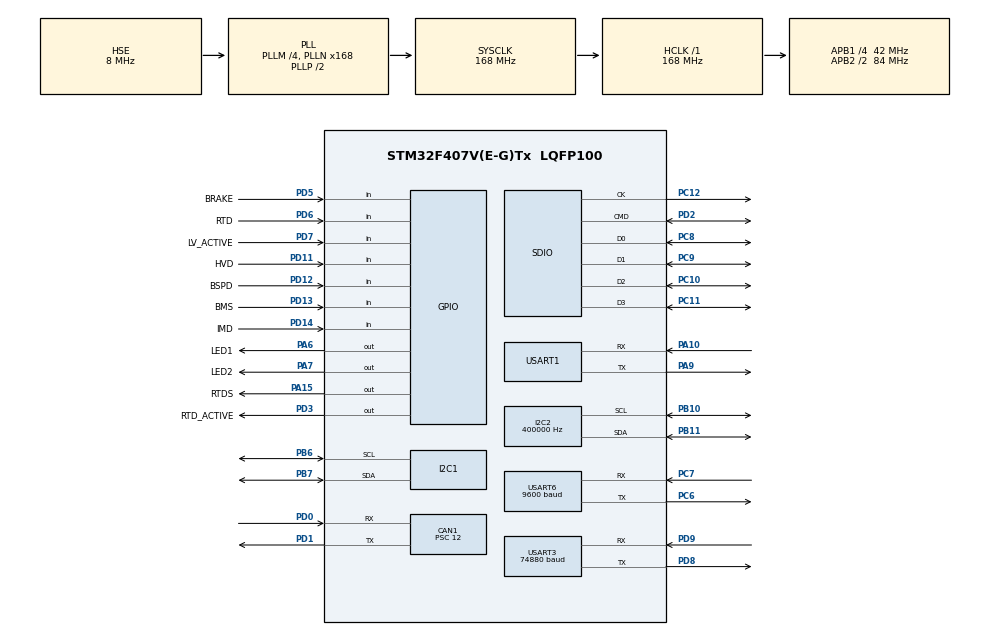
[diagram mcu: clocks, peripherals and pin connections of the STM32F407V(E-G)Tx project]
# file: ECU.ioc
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ADC1.Channel-0\#ChannelRegularConversion=ADC_CHANNEL_TEMPSENSOR
ADC1.ContinuousConvMode=DISABLE
ADC1.NbrOfConversionFlag=1
ADC1.Rank-0\#ChannelRegularConversion=1
ADC1.SamplingTime-0\#ChannelRegularConversion=ADC_SAMPLETIME_3CYCLES
ADC1.master=1
CAN1.ABOM=ENABLE
CAN1.BS1=CAN_BS1_11TQ
CAN1.BS2=CAN_BS2_2TQ
CAN1.CalculateBaudRate=250000
CAN1.CalculateTimeBit=4000
CAN1.CalculateTimeQuantum=285.7142857142857
CAN1.Mode=CAN_MODE_SILENT
CAN1.NART=ENABLE
CAN1.Prescaler=12
Dma.Request0=SDIO_RX
Dma.Request1=SDIO_TX
Dma.SDIO_RX.0.Direction=DMA_PERIPH_TO_MEMORY
Dma.SDIO_RX.0.FIFOMode=DMA_FIFOMODE_ENABLE
Dma.SDIO_RX.0.FIFOThreshold=DMA_FIFO_THRESHOLD_FULL
Dma.SDIO_RX.0.Instance=DMA2_Stream3
Dma.SDIO_RX.0.MemBurst=DMA_MBURST_INC4
Dma.SDIO_RX.0.MemDataAlignment=DMA_MDATAALIGN_WORD
Dma.SDIO_RX.0.MemInc=DMA_MINC_ENABLE
Dma.SDIO_RX.0.Mode=DMA_PFCTRL
Dma.SDIO_RX.0.PeriphBurst=DMA_PBURST_INC4
Dma.SDIO_RX.0.PeriphDataAlignment=DMA_PDATAALIGN_WORD
Dma.SDIO_RX.0.PeriphInc=DMA_PINC_DISABLE
Dma.SDIO_RX.0.Priority=DMA_PRIORITY_LOW
Dma.SDIO_TX.1.Direction=DMA_MEMORY_TO_PERIPH
Dma.SDIO_TX.1.FIFOMode=DMA_FIFOMODE_ENABLE
Dma.SDIO_TX.1.FIFOThreshold=DMA_FIFO_THRESHOLD_FULL
Dma.SDIO_TX.1.Instance=DMA2_Stream6
Dma.SDIO_TX.1.MemBurst=DMA_MBURST_INC4
Dma.SDIO_TX.1.MemDataAlignment=DMA_MDATAALIGN_WORD
Dma.SDIO_TX.1.MemInc=DMA_MINC_ENABLE
Dma.SDIO_TX.1.Mode=DMA_PFCTRL
Dma.SDIO_TX.1.PeriphBurst=DMA_PBURST_INC4
Dma.SDIO_TX.1.PeriphDataAlignment=DMA_PDATAALIGN_WORD
Dma.SDIO_TX.1.PeriphInc=DMA_PINC_DISABLE
Dma.SDIO_TX.1.Priority=DMA_PRIORITY_LOW
FATFS._CODE_PAGE=850
FATFS._MAX_SS=4096
FATFS._USE_LFN=1
I2C1.I2C_Mode=I2C_Fast
I2C2.ClockSpeed=400000
I2C2.I2C_Mode=I2C_Fast
Mcu.Family=STM32F4
Mcu.Name=STM32F407V(E-G)Tx
Mcu.Package=LQFP100
NVIC.ADC_IRQn=true\:0\:0\:false\:false\:true\:true\:true\:true
NVIC.CAN1_RX0_IRQn=true\:0\:0\:false\:false\:true\:true\:true\:true
NVIC.CAN1_TX_IRQn=true\:0\:0\:false\:false\:true\:true\:true\:true
NVIC.DMA2_Stream3_IRQn=true\:0\:0\:false\:false\:true\:false\:true\:true
NVIC.DMA2_Stream6_IRQn=true\:0\:0\:false\:false\:true\:false\:true\:true
NVIC.I2C1_EV_IRQn=true\:0\:0\:false\:false\:true\:true\:true\:true
NVIC.I2C2_EV_IRQn=true\:0\:0\:false\:false\:true\:true\:true\:true
NVIC.PriorityGroup=NVIC_PRIORITYGROUP_4
NVIC.SDIO_IRQn=true\:0\:0\:false\:false\:true\:true\:true\:true
NVIC.TIM2_IRQn=true\:0\:0\:false\:false\:true\:true\:true\:true
NVIC.TIM3_IRQn=true\:0\:0\:false\:false\:true\:true\:true\:true
NVIC.TIM4_IRQn=true\:0\:0\:false\:false\:true\:true\:true\:true
NVIC.TIM8_BRK_TIM12_IRQn=true\:0\:0\:false\:false\:true\:true\:true\:true
NVIC.USART3_IRQn=true\:0\:0\:false\:false\:true\:true\:true\:true
NVIC.USART6_IRQn=true\:0\:0\:false\:false\:true\:true\:true\:true
PA10.Mode=Asynchronous
PA10.Signal=USART1_RX
PA13.Mode=Serial_Wire
PA13.Signal=SYS_JTMS-SWDIO
PA14.Mode=Serial_Wire
PA14.Signal=SYS_JTCK-SWCLK
PA15.GPIO_Label=RTDS
PA15.GPIO_PuPd=GPIO_PULLDOWN
PA15.Signal=GPIO_Output
PA6.GPIO_Label=LED1
PA6.Signal=GPIO_Output
PA7.GPIO_Label=LED2
PA7.Signal=GPIO_Output
PA9.Mode=Asynchronous
PA9.Signal=USART1_TX
PB10.Mode=I2C
PB10.Signal=I2C2_SCL
PB11.Mode=I2C
PB11.Signal=I2C2_SDA
PB6.Mode=I2C
PB6.Signal=I2C1_SCL
PB7.Mode=I2C
PB7.Signal=I2C1_SDA
PC10.GPIO_PuPd=GPIO_PULLUP
PC10.Mode=SD_4_bits_Wide_bus
PC10.Signal=SDIO_D2
PC11.GPIO_PuPd=GPIO_PULLUP
PC11.Mode=SD_4_bits_Wide_bus
PC11.Signal=SDIO_D3
PC12.Mode=SD_4_bits_Wide_bus
PC12.Signal=SDIO_CK
PC14-OSC32_IN.Mode=LSE-External-Oscillator
PC14-OSC32_IN.Signal=RCC_OSC32_IN
PC15-OSC32_OUT.Mode=LSE-External-Oscillator
PC15-OSC32_OUT.Signal=RCC_OSC32_OUT
PC6.Mode=Asynchronous
PC6.Signal=USART6_TX
PC7.Mode=Asynchronous
PC7.Signal=USART6_RX
PC8.GPIO_PuPd=GPIO_PULLUP
PC8.Mode=SD_4_bits_Wide_bus
PC8.Signal=SDIO_D0
PC9.GPIO_PuPd=GPIO_PULLUP
PC9.Mode=SD_4_bits_Wide_bus
PC9.Signal=SDIO_D1
PD0.Mode=CAN_Activate
PD0.Signal=CAN1_RX
PD1.Mode=CAN_Activate
PD1.Signal=CAN1_TX
PD11.GPIO_Label=HVD
PD11.GPIO_PuPd=GPIO_PULLDOWN
PD11.Signal=GPIO_Input
PD12.GPIO_Label=BSPD
PD12.GPIO_PuPd=GPIO_PULLDOWN
PD12.Signal=GPIO_Input
PD13.GPIO_Label=BMS
PD13.GPIO_PuPd=GPIO_PULLDOWN
PD13.Signal=GPIO_Input
PD14.GPIO_Label=IMD
PD14.GPIO_PuPd=GPIO_PULLDOWN
PD14.Signal=GPIO_Input
PD2.GPIO_PuPd=GPIO_PULLUP
PD2.Mode=SD_4_bits_Wide_bus
PD2.Signal=SDIO_CMD
PD3.GPIO_Label=RTD_ACTIVE
PD3.Signal=GPIO_Output
PD5.GPIO_Label=BRAKE
PD5.GPIO_PuPd=GPIO_PULLDOWN
PD5.Signal=GPIO_Input
PD6.GPIO_Label=RTD
PD6.GPIO_PuPd=GPIO_PULLDOWN
PD6.Signal=GPIO_Input
PD7.GPIO_Label=LV_ACTIVE
PD7.GPIO_PuPd=GPIO_PULLDOWN
PD7.Signal=GPIO_Input
PD8.Mode=Asynchronous
PD8.Signal=USART3_TX
PD9.Mode=Asynchronous
PD9.Signal=USART3_RX
PH0-OSC_IN.Mode=HSE-External-Oscillator
PH0-OSC_IN.Signal=RCC_OSC_IN
PH1-OSC_OUT.Mode=HSE-External-Oscillator
PH1-OSC_OUT.Signal=RCC_OSC_OUT
ProjectManager.HeapSize=0x200
ProjectManager.StackSize=0x400
ProjectManager.TargetToolchain=STM32CubeIDE
RCC.48MHZClocksFreq_Value=48000000
RCC.AHBFreq_Value=168000000
RCC.APB1CLKDivider=RCC_HCLK_DIV4
RCC.APB1Freq_Value=42000000
RCC.APB1TimFreq_Value=84000000
RCC.APB2CLKDivider=RCC_HCLK_DIV2
RCC.APB2Freq_Value=84000000
RCC.APB2TimFreq_Value=168000000
RCC.CortexFreq_Value=168000000
RCC.EnbaleCSS=true
RCC.HCLKFreq_Value=168000000
RCC.HSE_VALUE=8000000
RCC.HSI_VALUE=16000000
RCC.PLLM=4
RCC.PLLN=168
RCC.PLLQ=7
RCC.PLLSourceVirtual=RCC_PLLSOURCE_HSE
RCC.RCC_RTC_Clock_Source=RCC_RTCCLKSOURCE_LSE
RCC.RCC_RTC_Clock_SourceVirtual=RCC_RTCCLKSOURCE_LSE
RCC.SYSCLKFreq_VALUE=168000000
RCC.SYSCLKSource=RCC_SYSCLKSOURCE_PLLCLK
RCC.VCOOutputFreq_Value=336000000
RTC.Date=15
RTC.Hours=1
RTC.Minutes=2
RTC.Month=RTC_MONTH_JULY
RTC.Seconds=3
RTC.WeekDay=RTC_WEEKDAY_FRIDAY
RTC.Year=22
SDIO.ClockDiv=12
SDIO.HardwareFlowControl=SDIO_HARDWARE_FLOW_CONTROL_ENABLE
TIM12.Period=2000 - 1
TIM12.Prescaler=8400 - 1
TIM2.Period=2000 - 1
TIM2.Prescaler=8400 - 1
TIM3.Period=1000 - 1
TIM3.Prescaler=8400 - 1
TIM4.Period=50000 - 1
TIM4.Prescaler=8400 - 1
USART1.VirtualMode=VM_ASYNC
USART3.BaudRate=74880
USART3.VirtualMode=VM_ASYNC
USART6.BaudRate=9600
USART6.VirtualMode=VM_ASYNC
VP_ADC1_TempSens_Input.Mode=IN-TempSens
VP_FATFS_VS_SDIO.Mode=SDIO
VP_RTC_VS_RTC_Activate.Mode=RTC_Enabled
VP_RTC_VS_RTC_Calendar.Mode=RTC_Calendar
VP_TIM12_VS_ClockSourceINT.Mode=Internal
VP_TIM2_VS_ClockSourceINT.Mode=Internal
VP_TIM3_VS_ClockSourceINT.Mode=Internal
VP_TIM4_VS_ClockSourceINT.Mode=Internal
board=custom

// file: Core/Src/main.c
/* USER CODE BEGIN Header */
/**
  ******************************************************************************
  * @file           : main.c
  * @brief          : Main program body
  ******************************************************************************
  * @attention
  *
  * Copyright (c) 2022 STMicroelectronics.
  * All rights reserved.
  *
  * This software is licensed under terms that can be found in the LICENSE file
  * in the root directory of this software component.
  * If no LICENSE file comes with this software, it is provided AS-IS.
  *
  ******************************************************************************
  */
/* USER CODE END Header */
#include "main.h"
#include "adc.h"
#include "can.h"
#include "dma.h"
#include "fatfs.h"
#include "i2c.h"
#include "rtc.h"
#include "sdio.h"
#include "tim.h"
#include "usart.h"
#include "gpio.h"

/* USER CODE BEGIN Includes */
#include <stdio.h>
#include <stdlib.h>
#include <stdbool.h>
#include <string.h>
#include <inttypes.h>
#include <time.h>

#include "ringbuffer.h"
/* USER CODE END Includes */

/* USER CODE BEGIN PTD */
typedef struct {
	uint8_t* component;
	uint8_t* level;
	uint8_t* key;
	uint8_t* value;
} log_t;

typedef struct {
	uint8_t* name;
	uint32_t value;
	GPIO_TypeDef* port;
	uint16_t pin;
} GPIO_t;

typedef enum {
	LV_ACTIVE = 0,
	RTD = 1,
	BRAKE = 2,
	IMD = 3,
	BMS = 4,
	BSPD = 5,
	HVD = 6
} GPIO_INPUT_t;

typedef enum {
	GPS_TIME = 0,
	GPS_VALID,
	LAT,
	LAT_DIR,
	LON,
	LON_DIR,
	GROUND_SPEED,
	TRACK_ANGLE,
	GPS_DATE,
	COMPASS,
	COMPASS_DIR
} GPRMC_t;

typedef enum {
	CAN_BMS_CORE = 0,
	CAN_BMS_TEMP,
	CAN_INV_TEMP_1,
	CAN_INV_TEMP_3,
	CAN_INV_ANALOG_IN,
	CAN_INV_MOTOR_POS,
	CAN_INV_CURRENT,
	CAN_INV_VOLTAGE,
	CAN_INV_FLUX,
	CAN_INV_REF,
	CAN_INV_STATE,
	CAN_INV_FAULT,
	CAN_INV_TORQUE,
	CAN_INV_FLUX_WEAKING
} CAN_MSG_t;

typedef enum {
	CAN_BMS_CORE_ID = 0x6B0,
	CAN_BMS_TEMP_ID = 0x6B1,
	CAN_INV_TEMP_1_ID = 0xA0,
	CAN_INV_TEMP_3_ID = 0xA2,
	CAN_INV_ANALOG_IN_ID = 0xA3,
	CAN_INV_MOTOR_POS_ID = 0xA5,
	CAN_INV_CURRENT_ID = 0xA6,
	CAN_INV_VOLTAGE_ID = 0xA7,
	CAN_INV_FLUX_ID = 0xA8,
	CAN_INV_REF_ID = 0xA9,
	CAN_INV_STATE_ID = 0xAA,
	CAN_INV_FAULT_ID = 0xAB,
	CAN_INV_TORQUE_ID = 0xAC,
	CAN_INV_FLUX_WEAKING_ID = 0xAD
} CAN_MSG_ID_t;
/* USER CODE END PTD */

/* USER CODE BEGIN PD */
#define DEBUG_MODE 1
#define GPS_DEBUG 0

#define INPUT_GPIO_COUNT 7
#define CAN_MSG_COUNT 14

// ADC temperature sensor calibration values
#define TS_CAL1 *((uint16_t*)0x1FFF7A2C)
#define TS_CAL2 *((uint16_t*)0x1FFF7A2E)

// I2C
#define LCD_I2C_ADDRESS 0x27 << 1
#define ACC_I2C_ADDRESS 0x53 << 1

/* USER CODE END PD */

/* USER CODE BEGIN PV */

// error handler log
log_t errlog;

// SD file system;
FATFS SDFatFs;

// boot RTC time
uint64_t boot;
uint8_t logfile[30];
uint32_t isRTCFixed = false;

uint32_t isGPSFixed = false;

// 64KB log buffer
ring_buffer_t logbuffer;

// GPS UART6 receive buffer
uint8_t gps_rxd;
uint8_t gps_rxs[120];
uint32_t gps_valid = false;

// WiFi UART3 receive buffer
uint8_t wifi_rxd;
uint8_t wifi_rxs[50];
uint32_t wifi_valid = false;

// GPIO status
GPIO_t GPIO[8] = {
		{ .name = "HV",    .value = false, .port = GPIOD, .pin = LV_ACTIVE_Pin },
		{ .name = "RTD",   .value = false, .port = GPIOD, .pin = RTD_Pin },
		{ .name = "BRAKE", .value = false, .port = GPIOD, .pin = BRAKE_Pin },
		{ .name = "IMD",   .value = false, .port = GPIOD, .pin = IMD_Pin },
		{ .name = "BMS",   .value = false, .port = GPIOD, .pin = BMS_Pin },
		{ .name = "BSPD",  .value = false, .port = GPIOD, .pin = BSPD_Pin },
		{ .name = "HVD",   .value = false, .port = GPIOD, .pin = HVD_Pin }
};

// ADC temperature value
uint32_t adc_valid = false;
uint32_t core_temperature;

// GPIO check
uint32_t gpio_valid = false;

// LCD update flag
uint32_t lcd_valid = false;

// CAN receiver config
CAN_RxHeaderTypeDef can_rxh;
uint8_t can_rxb[8];
uint8_t can_rxd[CAN_MSG_COUNT][8];
uint32_t can_valid[CAN_MSG_COUNT] = { false, };
uint32_t can_active = false;
uint8_t *can_msg_id[CAN_MSG_COUNT] = { "CAN_BMS_CORE", "CAN_BMS_TEMP", "CAN_INV_TEMP_1", "CAN_INV_TEMP_3",
						   	   	   	   "CAN_INV_ANALOG_IN", "CAN_INV_MOTOR_POS", "CAN_INV_CURRENT", "CAN_INV_VOLTAGE",
									   "CAN_INV_FLUX", "CAN_INV_REF", "CAN_INV_STATE", "CAN_INV_FAULT",
									   "CAN_INV_TORQUE", "CAN_INV_FLUX_WEAKING" };

// SD mount flag
uint32_t sd_valid = false;

// Accelerometer data
uint8_t acc_rxd[6];
uint8_t acc_valid = false;

/* USER CODE END PV */

void SystemClock_Config(void);

/* USER CODE BEGIN 0 */
int _write(int file, uint8_t *ptr, int len) {
   HAL_UART_Transmit(&huart1, (uint8_t *)ptr, (uint16_t)len, 100);
   return (len);
}

uint64_t getDateTimeBits() {
	uint64_t result = 0;

	RTC_DateTypeDef sDate;
	RTC_TimeTypeDef sTime;

	HAL_RTC_GetTime(&hrtc, &sTime, FORMAT_BIN);
	HAL_RTC_GetDate(&hrtc, &sDate, FORMAT_BIN);

	result |= (uint64_t)(sTime.SubSeconds);
	result |= (uint64_t)(sTime.Seconds) << 8;
	result |= (uint64_t)(sTime.Minutes) << 16;
	result |= (uint64_t)(sTime.Hours) << 24;
	result |= (uint64_t)(sDate.Date) << 32;
	result |= (uint64_t)(sDate.Month) << 40;
	result |= (uint64_t)(sDate.Year) << 48;

	return result;
}

void SD_Setup() {
	// INIT & MOUNT
	disk_initialize((BYTE) 0);
	uint32_t err = f_mount(&SDFatFs, "", 0);

	#if DEBUG_MODE
		printf("mount err: %d\n", err);
	#endif
	if(err != FR_OK) {
		errlog.component = "ECU";
		errlog.level = "ERRR";
		errlog.key = "SD";
		errlog.value = malloc(17);
		sprintf(errlog.value, "SD_MOUNT_ERR: %d", err);

		Error_Handler();
		free(errlog.value);
	}

	sd_valid = true;

	log_t log;
	log.component = "ECU";
	log.level = "INFO";
	log.key = "SD";
	log.value = "SD_MOUNTED";
	LOGGER(&log);
}

uint8_t* log_string_generator(log_t* log, uint8_t* str, uint32_t* logsize) {
	uint64_t timestamp = getDateTimeBits();

	// set log content
	sprintf(str, "![%s]\t[20%d-%02d-%02d %02d:%02d:%02d.%03d]\t%s\t\t%s\t\t\t%s\n",
			log->level,
			(uint32_t)(timestamp >> 48), (uint32_t)(timestamp << 16 >> 56), (uint32_t)(timestamp << 24 >> 56),
			(uint32_t)(timestamp << 32 >> 56), (uint32_t)(timestamp << 40 >> 56), (uint32_t)(timestamp << 48 >> 56), (int)(999.0 / 255.0 * (float)(255 - (timestamp << 56 >> 56))),
			log->component, log->key, log->value);

	*logsize = strlen(str);
	return str;
}

void LOGGER(log_t* log) {
	uint8_t* content = malloc(100);
	uint32_t logsize;

	log_string_generator(log, content, &logsize);

	// append log to buffer
	ring_buffer_queue_arr(&logbuffer, content, logsize + 1);

	#if DEBUG_MODE
		printf("LOG: %s", content);
	#endif

	// mount SD
	if (!sd_valid) {
		SD_Setup();
	}

	// SAVE TO SD
	FIL file;
	uint32_t writtenBytesCount;

	// OPEN FILE
	uint32_t err = f_open(&file, logfile, FA_OPEN_APPEND | FA_WRITE);
	#if DEBUG_MODE
		printf("sd open: %d, %s\n", err, logfile);
	#endif
	if (err != FR_OK) {
		errlog.component = "ECU";
		errlog.level = "ERRR";
		errlog.key = "SD";
		errlog.value = malloc(16);
		sprintf(errlog.value, "SD_OPEN_ERR: %d", err);

		Error_Handler();
		free(errlog.value);
	}

	// WRITE TO FILE
	err = f_write(&file, content, logsize, (void *)&writtenBytesCount);
	#if DEBUG_MODE
		printf("sd write: %d, %s, %d\n", err, logfile, writtenBytesCount);
	#endif
	if (err != FR_OK) {
		errlog.component = "ECU";
		errlog.level = "ERRR";
		errlog.key = "SD";
		errlog.value = malloc(17);
		sprintf(errlog.value, "SD_WRITE_ERR: %d", err);

		Error_Handler();
		free(errlog.value);
	}

	// CLOSE FILE
	err = f_close(&file);
	#if DEBUG_MODE
		printf("sd close: %d\n\n", err);
	#endif
	if(err != FR_OK) {
		errlog.component = "ECU";
		errlog.level = "ERRR";
		errlog.key = "SD";
		errlog.value = malloc(17);
		sprintf(errlog.value, "SD_CLOSE_ERR: %d", err);

		Error_Handler();
		free(errlog.value);
	}

	free(content);
}

/* ========== GPIO START ========== */
void Sensor_Setup() {
	// internal temperature sensor time
	HAL_TIM_Base_Start_IT(&htim4);

	// initialize APPS pin
	HAL_GPIO_WritePin(GPIOD, RTD_ACTIVE_Pin, GPIO_PIN_RESET);

	// initialize RTDS pin
	HAL_GPIO_WritePin(GPIOA, RTDS_Pin, GPIO_PIN_SET);

	// read initial GPIO states
	for (uint32_t i = 0; i < INPUT_GPIO_COUNT; i++) {
		GPIO[i].value = HAL_GPIO_ReadPin(GPIO[i].port, GPIO[i].pin);

		log_t log;
		log.component = "ECU";
		log.level = "INFO";
		log.key = "GPIO";
		log.value = malloc(strlen(GPIO[i].name) + 3);
		sprintf(log.value, "%s %d", GPIO[i].name, (GPIO[i].value));
		LOGGER(&log);
		free(log.value);
	}
}

void Sensor_Manager() {
	// detect GPIO state change
	for (uint32_t i = 0; i < INPUT_GPIO_COUNT; i++) {
		if (GPIO[i].value != HAL_GPIO_ReadPin(GPIO[i].port, GPIO[i].pin)) {
			log_t log;
			log.component = "ECU";
			log.level = "INFO";
			log.key = "GPIO";
			log.value = malloc(strlen(GPIO[i].name) + 3);
			sprintf(log.value, "%s %d", GPIO[i].name, !(GPIO[i].value));
			LOGGER(&log);
			free(log.value);

			GPIO[i].value = !(GPIO[i].value);
		}
	}

	// log GPIO state
	if (gpio_valid) {
		static uint32_t checkedGPIOcount = 0;
		static uint32_t gpioCheckStartTime = 0;
		if (!gpioCheckStartTime) gpioCheckStartTime = HAL_GetTick();

		if (HAL_GetTick() > gpioCheckStartTime + 100 * checkedGPIOcount) {
			GPIO[checkedGPIOcount].value = HAL_GPIO_ReadPin(GPIO[checkedGPIOcount].port, GPIO[checkedGPIOcount].pin);

			log_t log;
			log.component = "ECU";
			log.level = "INFO";
			log.key = "GPIO";
			log.value = malloc(strlen(GPIO[checkedGPIOcount].name) + 3);
			sprintf(log.value, "%s %d", GPIO[checkedGPIOcount].name, (GPIO[checkedGPIOcount].value));
			LOGGER(&log);
			free(log.value);

			checkedGPIOcount++;

			if (checkedGPIOcount == INPUT_GPIO_COUNT) {
				gpio_valid = false;
				checkedGPIOcount = 0;
				gpioCheckStartTime = 0;
			}
		}
	}

	// log internal temperature
	if (adc_valid) {
		log_t log;
		log.component = "ECU";
		log.level = "INFO";
		log.key = "TEMPERATURE";
		log.value = malloc(5);
		sprintf(log.value, "%d", core_temperature);
		LOGGER(&log);
		free(log.value);

		adc_valid = false;
	}
}
/* ========== GPIO END ========== */

void RTD_Manager() {
	static uint32_t RTD_FLAG = false;
	static uint32_t RTD_COUNTER_ACTIVE = false;

	static uint32_t RTD_TIMER;

	// read RTD related GPIO state
	uint32_t LV_ACTIVE    = HAL_GPIO_ReadPin(GPIOD, LV_ACTIVE_Pin);
	uint32_t RTD       	  = HAL_GPIO_ReadPin(GPIOD, RTD_Pin);
	uint32_t BRAKE        = HAL_GPIO_ReadPin(GPIOD, BRAKE_Pin);

	// on RTD condition
	if (!RTD_FLAG && LV_ACTIVE && RTD && BRAKE) {
	  // START RTD ACTIVATION TIMER
	  if (!RTD_COUNTER_ACTIVE) {
		 RTD_COUNTER_ACTIVE = true;
		 RTD_TIMER = HAL_GetTick();
	  }

	  // RTD ACTIVATION SEQUENCE
	  else if (HAL_GetTick() - RTD_TIMER > 1000) {
		 // Mark RTD active
		 RTD_FLAG = true;

		 // Play RTDS
		 HAL_GPIO_WritePin(GPIOA, RTDS_Pin, GPIO_PIN_RESET);
		 HAL_TIM_Base_Start_IT(&htim2);

		 // Activate APPS relay and RTD indicator LED
		 HAL_GPIO_WritePin(GPIOD, RTD_ACTIVE_Pin, GPIO_PIN_SET);

		 log_t log;
		 log.component = "ECU";
		 log.level = "INFO";
		 log.key = "RTD";
		 log.value = malloc(10);
		 sprintf(log.value, "%d", HAL_GetTick());
		 LOGGER(&log);
		 free(log.value);
	  }
	}
	// RTD abort
	else {
	  RTD_COUNTER_ACTIVE = false;
	}
}

/* ========== CAN RECEIVER START ========== */
void CAN_Setup() {
   CAN_FilterTypeDef CAN_Filter_Config;

   CAN_Filter_Config.FilterBank = 0;
   CAN_Filter_Config.FilterMode = CAN_FILTERMODE_IDMASK;
   CAN_Filter_Config.FilterScale = CAN_FILTERSCALE_32BIT;
   CAN_Filter_Config.FilterIdHigh = 0x0000;
   CAN_Filter_Config.FilterIdLow = 0x0000;
   CAN_Filter_Config.FilterMaskIdHigh = 0x0000;
   CAN_Filter_Config.FilterMaskIdLow = 0x0000;
   CAN_Filter_Config.FilterFIFOAssignment = CAN_RX_FIFO0;
   CAN_Filter_Config.FilterActivation = ENABLE;
   CAN_Filter_Config.SlaveStartFilterBank = 14;

   // CAN configuration
   if (HAL_CAN_ConfigFilter(&hcan1, &CAN_Filter_Config) != HAL_OK) {
		errlog.component = "ECU";
		errlog.level = "ERRR";
		errlog.key = "CAN";
		errlog.value = malloc(25);
		sprintf(errlog.value, "HAL_CAN_ConfigFilter_ERR");

		Error_Handler();
		free(errlog.value);
   }

   // CAN start
   if (HAL_CAN_Start(&hcan1) != HAL_OK) {
		errlog.component = "ECU";
		errlog.level = "ERRR";
		errlog.key = "CAN";
		errlog.value = malloc(18);
		sprintf(errlog.value, "HAL_CAN_Start_ERR");

		Error_Handler();
		free(errlog.value);
   }

   // CAN RX notification activation
   if (HAL_CAN_ActivateNotification(&hcan1, CAN_IT_RX_FIFO0_MSG_PENDING) != HAL_OK) {
		errlog.component = "ECU";
		errlog.level = "ERRR";
		errlog.key = "CAN";
		errlog.value = malloc(61);
		sprintf(errlog.value, "HAL_CAN_ActivateNotification_CAN_IT_RX_FIFO0_MSG_PENDING_ERR");

		Error_Handler();
		free(errlog.value);
   }
   can_active = true;

   // CAN RX FULL notification activation
   if (HAL_CAN_ActivateNotification(&hcan1, CAN_IT_RX_FIFO0_FULL) != HAL_OK) {
		errlog.component = "ECU";
		errlog.level = "ERRR";
		errlog.key = "CAN";
		errlog.value = malloc(54);
		sprintf(errlog.value, "HAL_CAN_ActivateNotification_CAN_IT_RX_FIFO0_FULL_ERR");

		Error_Handler();
		free(errlog.value);
   }
}

void HAL_CAN_RxFifo0MsgPendingCallback(CAN_HandleTypeDef *CAN_Handle) {
	if (HAL_CAN_GetRxMessage(CAN_Handle, CAN_RX_FIFO0, &can_rxh, can_rxb) != HAL_OK) {
		errlog.component = "ECU";
		errlog.level = "ERRR";
		errlog.key = "CAN";
		errlog.value = malloc(25);
		sprintf(errlog.value, "HAL_CAN_GetRxMessage_ERR");

		Error_Handler();
		free(errlog.value);
	}

#if DEBUG_MODE
	printf("CAN: %x 0x%02X 0x%02X 0x%02X 0x%02X 0x%02X 0x%02X 0x%02X 0x%02X\n", can_rxh.StdId, can_rxb[0], can_rxb[1], can_rxb[2], can_rxb[3], can_rxb[4], can_rxb[5], can_rxb[6], can_rxb[7]);
#endif

	switch (can_rxh.StdId) {
		case CAN_BMS_CORE_ID:
			memcpy(can_rxd[CAN_BMS_CORE], can_rxb, 8);
			can_valid[CAN_BMS_CORE] = true;
			break;

		case CAN_BMS_TEMP_ID:
			memcpy(can_rxd[CAN_BMS_TEMP], can_rxb, 8);
			can_valid[CAN_BMS_TEMP] = true;
			break;

		case CAN_INV_TEMP_1_ID:
			memcpy(can_rxd[CAN_INV_TEMP_1], can_rxb, 8);
			can_valid[CAN_INV_TEMP_1] = true;
			break;

		case CAN_INV_TEMP_3_ID:
			memcpy(can_rxd[CAN_INV_TEMP_3], can_rxb, 8);
			can_valid[CAN_INV_TEMP_3] = true;
			break;

		case CAN_INV_ANALOG_IN_ID:
			memcpy(can_rxd[CAN_INV_ANALOG_IN], can_rxb, 8);
			can_valid[CAN_INV_ANALOG_IN] = true;
			break;

		case CAN_INV_MOTOR_POS_ID:
			memcpy(can_rxd[CAN_INV_MOTOR_POS], can_rxb, 8);
			can_valid[CAN_INV_MOTOR_POS] = true;
			break;

		case CAN_INV_CURRENT_ID:
			memcpy(can_rxd[CAN_INV_CURRENT], can_rxb, 8);
			can_valid[CAN_INV_CURRENT] = true;
			break;

		case CAN_INV_VOLTAGE_ID:
			memcpy(can_rxd[CAN_INV_VOLTAGE], can_rxb, 8);
			can_valid[CAN_INV_VOLTAGE] = true;
			break;

		case CAN_INV_FLUX_ID:
			memcpy(can_rxd[CAN_INV_FLUX], can_rxb, 8);
			can_valid[CAN_INV_FLUX] = true;
			break;

		case CAN_INV_REF_ID:
			memcpy(can_rxd[CAN_INV_REF], can_rxb, 8);
			can_valid[CAN_INV_REF] = true;
			break;

		case CAN_INV_STATE_ID:
			memcpy(can_rxd[CAN_INV_STATE], can_rxb, 8);
			can_valid[CAN_INV_STATE] = true;
			break;

		case CAN_INV_FAULT_ID:
			memcpy(can_rxd[CAN_INV_FAULT], can_rxb, 8);
			can_valid[CAN_INV_FAULT] = true;
			break;

		case CAN_INV_TORQUE_ID:
			memcpy(can_rxd[CAN_INV_TORQUE], can_rxb, 8);
			can_valid[CAN_INV_TORQUE] = true;
			break;

		case CAN_INV_FLUX_WEAKING_ID:
			memcpy(can_rxd[CAN_INV_FLUX_WEAKING], can_rxb, 8);
			can_valid[CAN_INV_FLUX_WEAKING] = true;
			break;
	}
}

void HAL_CAN_RxFifo0FullCallback(CAN_HandleTypeDef *CAN_Handle) {
	// deactivate CAN RX on FIFO FULL
	if (HAL_CAN_DeactivateNotification(&hcan1, CAN_IT_RX_FIFO0_MSG_PENDING) != HAL_OK) {
		errlog.component = "ECU";
		errlog.level = "ERRR";
		errlog.key = "CAN";
		errlog.value = malloc(63);
		sprintf(errlog.value, "HAL_CAN_DeactivateNotification_CAN_IT_RX_FIFO0_MSG_PENDING_ERR");

		Error_Handler();
		free(errlog.value);
	}
	can_active = false;
}

void CAN_Manager() {
	for (uint32_t i = 0; i < CAN_MSG_COUNT; i++) {
		if (can_valid[i]) {
			log_t log;
	        log.component = i < 2 ? "BMS" : "INV";
	        log.level = (i == 0 && (can_rxd[i][5] | can_rxd[i][6])) ? "ERRR" : "INFO";
	        log.key = can_msg_id[i];
			log.value = malloc(40);
			sprintf(log.value, "0x%02X 0x%02X 0x%02X 0x%02X 0x%02X 0x%02X 0x%02X 0x%02X", can_rxd[i][0], can_rxd[i][1], can_rxd[i][2], can_rxd[i][3], can_rxd[i][4], can_rxd[i][5], can_rxd[i][6], can_rxd[i][7]);
			LOGGER(&log);
			free(log.value);

			can_valid[i] = false;
		}
	}

	if (!can_active) {
		// CAN RX notification activation
		if (HAL_CAN_ActivateNotification(&hcan1, CAN_IT_RX_FIFO0_MSG_PENDING) != HAL_OK) {
			errlog.component = "ECU";
			errlog.level = "ERRR";
			errlog.key = "CAN";
			errlog.value = malloc(61);
			sprintf(errlog.value, "HAL_CAN_ActivateNotification_CAN_IT_RX_FIFO0_MSG_PENDING_ERR");

			Error_Handler();
			free(errlog.value);
		}
	}
}

void HAL_CAN_ErrorCallback(CAN_HandleTypeDef *hcan) {
	errlog.component = "ECU";
	errlog.level = "ERRR";
	errlog.key = "CAN";
	errlog.value = malloc(26);
	sprintf(errlog.value, "HAL_CAN_ErrorCallback_ERR");

	Error_Handler();
	free(errlog.value);
}
/* ========== CAN RECEIVER END ========== */

void HAL_UART_RxCpltCallback(UART_HandleTypeDef *huart) {
	// for GPS
	if(huart->Instance == USART6) {
		// process only if data is not ready
		if(gps_valid) return;
		else {
			// received character position
			static uint32_t len = 0;

			// if received data is line ending
			if(gps_rxd == '\n') {
				gps_rxs[len] = '\0';
				len = 0;

				// process only if received line is GPRMC
				if(strstr(gps_rxs, "$GPRMC")) {
					// set GPS data ready
					gps_valid = true;
					return;
				}
			}

			// append received byte to receive buffer
			else gps_rxs[len++] = gps_rxd;

			// re-enable UART interrupt
			HAL_UART_Receive_IT(&huart6, &gps_rxd, 1);
		}
	}

	// for WiFi
	else if(huart->Instance == USART3) {
		// process only if data is ready to processed
		if(wifi_valid) return;
		else {
			static uint32_t len = 0;

			if(wifi_rxd == '\n') {
				wifi_rxs[len] = '\0';
				len = 0;

				// set flag only if received line contains $ESP
				if(strstr(wifi_rxs, "$ESP")) {
					wifi_valid = true;
					return;
				}
			}

			else {
				// cut received buffer if len > 50
				if (len == 50) len = 0;
				wifi_rxs[len++] = wifi_rxd;
			}

			// re-enable UART interrupt
			HAL_UART_Receive_IT(&huart3, &wifi_rxd, 1);
		}
	}
}

/* ========== GPS RECEIVER START ========== */
void GPS_Setup() {
	/*
	const uint8_t NMEA_cmd[5][16] = {
		{ 0xB5, 0x62, 0x06, 0x01, 0x08, 0x00, 0xF0, 0x00, 0x00, 0x00, 0x00, 0x00, 0x00, 0x01, 0x00, 0x24 }, // disable GxGGA
		{ 0xB5, 0x62, 0x06, 0x01, 0x08, 0x00, 0xF0, 0x01, 0x00, 0x00, 0x00, 0x00, 0x00, 0x01, 0x01, 0x2B }, // disable GxGLL
		{ 0xB5, 0x62, 0x06, 0x01, 0x08, 0x00, 0xF0, 0x02, 0x00, 0x00, 0x00, 0x00, 0x00, 0x01, 0x02, 0x32 }, // disable GxGSA
		{ 0xB5, 0x62, 0x06, 0x01, 0x08, 0x00, 0xF0, 0x03, 0x00, 0x00, 0x00, 0x00, 0x00, 0x01, 0x03, 0x39 }, // disable GxGSV
		{ 0xB5, 0x62, 0x06, 0x01, 0x08, 0x00, 0xF0, 0x05, 0x00, 0x00, 0x00, 0x00, 0x00, 0x01, 0x05, 0x47 }  // disable GxVTG
	};

	HAL_UART_Transmit(&huart6, NMEA_cmd[0], 16, 50);
	HAL_UART_Transmit(&huart6, NMEA_cmd[1], 16, 50);
	HAL_UART_Transmit(&huart6, NMEA_cmd[2], 16, 50);
	HAL_UART_Transmit(&huart6, NMEA_cmd[3], 16, 50);
	HAL_UART_Transmit(&huart6, NMEA_cmd[4], 16, 50);
	*/

	const uint8_t UBX_rate_cmd[14] = { 0xB5, 0x62, 0x06, 0x08, 0x06, 0x00, 0xC8, 0x00, 0x01, 0x00, 0x01, 0x00, 0xDE, 0x6A }; // set update rate 5Hz
	const uint8_t UBX_power_cmd[16] = { 0xB5, 0x62, 0x06, 0x86, 0x08, 0x00, 0x00, 0x00, 0x00, 0x00, 0x00, 0x00, 0x00, 0x00, 0x94, 0x5A }; // set full power

	HAL_UART_Transmit(&huart6, UBX_rate_cmd, 14, 50);
	HAL_UART_Transmit(&huart6, UBX_power_cmd, 16, 50);

	// enable UART receive
	HAL_UART_Receive_IT(&huart6, &gps_rxd, 1);
}

void GPS_Manager() {
	// process only if received buffer data is ready
	if(gps_valid) {
#if GPS_DEBUG
		printf("GPS: %s\n", gps_rxs);
#endif

	    // process received GPRMC string
		uint8_t *gps[11];
		uint8_t *ptr = strchr(gps_rxs, ',');

		uint32_t count = 0;

		// store GPS data fields
		while (strchr(ptr + 1, ',')) {
			// calculate data field length
			uint32_t len = (uint8_t *)strchr(ptr + 1, ',') - ptr - 1;

			// NULL if there is no data
			if (!len) {
				gps[count] = NULL;
			}

			// allocate and store if data is present
			else {
				gps[count] = malloc(len + 1);
				strncpy(gps[count], ptr + 1, len);
				gps[count][len] = '\0';
			}

			// move to next data
			count++;
			ptr = strchr(ptr + 1, ',');
		}

		// fix RTC datetime from GPS
		/*
		if(!isRTCFixed && gps[GPS_TIME] && gps[GPS_DATE]) {
			RTC_DateTypeDef sDate;
			RTC_TimeTypeDef sTime;

			uint8_t timebuffer[3];

			strncpy(timebuffer, gps[GPS_TIME], 2);
			sTime.Hours = (uint8_t)strtol(timebuffer, NULL, 10) + 9;
			strncpy(timebuffer, gps[GPS_TIME] + 2, 2);
			sTime.Minutes = (uint8_t)strtol(timebuffer, NULL, 10);
			strncpy(timebuffer, gps[GPS_TIME] + 4, 2);
			sTime.Seconds = (uint8_t)strtol(timebuffer, NULL, 10);

			strncpy(timebuffer, gps[GPS_DATE], 2);
			sDate.Date = (uint8_t)strtol(timebuffer, NULL, 10);
			strncpy(timebuffer, gps[GPS_DATE] + 2, 2);
			sDate.Month = (uint8_t)strtol(timebuffer, NULL, 16);
			strncpy(timebuffer, gps[GPS_DATE] + 4, 2);
			sDate.Year = (uint8_t)strtol(timebuffer, NULL, 10);

			sDate.WeekDay = 0;
			HAL_RTC_SetTime(&hrtc, &sTime, FORMAT_BIN);
			HAL_RTC_SetDate(&hrtc, &sDate, FORMAT_BIN);

		    log_t log;
		    log.component = "ECU";
		    log.level = "INFO";
		    log.key = "RTC";
		    log.value = "RTC_DATETIME_FIX_GPS";
		    LOGGER(&log);

		    isRTCFixed = true;
		}
		*/

		// on valid GPS fix
		if(gps[gps_valid][0] == 'A') {
			// log if GPS got fix
			if(!isGPSFixed) {
				log_t log;
		        log.component = "ECU";
		        log.level = "INFO";
		        log.key = "GPS_STATE";
		        log.value = "1";
		        LOGGER(&log);
			    isGPSFixed = true;
			}

		    // log GPS fix info
		    log_t log;
	        log.component = "ECU";
	        log.level = "INFO";
	        log.key = "GPS_FIX";
	        log.value = gps_rxs;
	        LOGGER(&log);
		}
		// on invalid GPS fix
		else {
			// log if GPS lost fix
			if(isGPSFixed) {
				log_t log;
		        log.component = "ECU";
		        log.level = "INFO";
		        log.key = "GPS_STATE";
		        log.value = "0";
		        LOGGER(&log);
			    isGPSFixed = false;
			}
		}

		for(int i = 0; i < 11; i++) free(gps[i]);

		// mark data used
		gps_valid = false;

		// re-enable interrupt
		HAL_UART_Receive_IT(&huart6, &gps_rxd, 1);
	}
}
/* ========== GPS RECEIVER END ========== */

/* ========== WiFi START ========== */
void WiFi_Manager() {
	static uint32_t wifiSocketConnectedTime = false;

	if (wifi_valid) {
#if DEBUG_MODE
				printf("WiFi: %s\n", wifi_rxs);
#endif

		// on ESP socket connection
		if (strstr(wifi_rxs, "SOCKET_CONNECTED")) {
			log_t log;
			log.component = "ECU";
			log.level = "INFO";
			log.key = "WIFI";
			log.value = wifi_rxs;
			LOGGER(&log);

			wifiSocketConnectedTime = HAL_GetTick();
		}

		// on ESP socket disconnection
		else if (strstr(wifi_rxs, "SOCKET_DISCONNECTED")) {
			if (wifiSocketConnectedTime) {
				log_t log;
				log.component = "ECU";
				log.level = "INFO";
				log.key = "WIFI";
				log.value = wifi_rxs;
				LOGGER(&log);
			}

			wifiSocketConnectedTime = false;
		}

		// on other ESP messages
		else {
			log_t log;
			log.component = "ECU";
			log.level = "INFO";
			log.key = "WIFI";
			log.value = wifi_rxs;
			LOGGER(&log);

			// process if message is RTC_FIX
			if(strstr(wifi_rxs, "RTC_FIX")) {
				// datetime string start index
				uint8_t *index = strstr(wifi_rxs, "RTC_FIX") + 10;
				uint8_t temp[3];

				uint32_t cnt = 0;

				if(*index) {
					RTC_DateTypeDef sDate;
					RTC_TimeTypeDef sTime;

					// process each date and time
					while (*index) {
						strncpy(temp, index, 3);
						temp[2] = '\0';

						switch (cnt) {
							case 0: sDate.Year = (uint8_t)strtol(temp, NULL, 10); break;
							case 1: sDate.Month = (uint8_t)strtol(temp, NULL, 16); break;
							case 2: sDate.Date = (uint8_t)strtol(temp, NULL, 10); break;
							case 3: sTime.Hours = (uint8_t)strtol(temp, NULL, 10); break;
							case 4: sTime.Minutes = (uint8_t)strtol(temp, NULL, 10); break;
							case 5: sTime.Seconds = (uint8_t)strtol(temp, NULL, 10); break;
						}

						// move to next date or time
						index += 3;
						cnt++;
					}

					// set weekday to valid value: must required for accurate year
					sDate.WeekDay = 0;

					// set RTC
					HAL_RTC_SetTime(&hrtc, &sTime, FORMAT_BIN);
					HAL_RTC_SetDate(&hrtc, &sDate, FORMAT_BIN);

					log_t log;
					log.component = "ECU";
					log.level = "INFO";
					log.key = "RTC";
					log.value = "RTC_DATETIME_FIX_WIFI";
					LOGGER(&log);
				}
			}

			// check if ESP is online on ECU boot
			else if (strstr(wifi_rxs, "STANDBY")) {
				wifiSocketConnectedTime = HAL_GetTick();
			}
		}

		// mark process complete and re-enable UART interrupt
		wifi_valid = false;
		HAL_UART_Receive_IT(&huart3, &wifi_rxd, 1);
	}

	// flush ring buffer on ESP online, wait 5 seconds for stable transmission, send message every 10ms
	static uint32_t lastSentTime = 0;
	uint32_t currentTime = HAL_GetTick();
	if (wifiSocketConnectedTime && currentTime > wifiSocketConnectedTime + 5000 && !ring_buffer_is_empty(&logbuffer) && currentTime > lastSentTime + 10) {
		uint32_t size = strlen(logbuffer.buffer + logbuffer.tail_index) + 1;
		uint8_t* buf = malloc(size);

		ring_buffer_dequeue_arr(&logbuffer, buf, size);

		HAL_UART_Transmit(&huart3, buf, size, 50);
		free(buf);
		lastSentTime = HAL_GetTick();
	}
}
/* ========== WiFi END ========== */

// TIMER configuration
void HAL_TIM_PeriodElapsedCallback(TIM_HandleTypeDef *htim) {
	static uint32_t TIMER2_ENABLE = false;

	// RTDS button-press simulation for DFPlayer Mini
	if (htim->Instance == TIM2) { // 200ms
	  if (TIMER2_ENABLE) {
		 HAL_GPIO_WritePin(GPIOA, RTDS_Pin, GPIO_PIN_SET);
		 HAL_TIM_Base_Stop_IT(&htim2);
	  }
	  else {
		 TIMER2_ENABLE = true;
		 return;
	  }
	}

	// LCD
	else if (htim->Instance == TIM3) { // 100ms
		lcd_valid = true;
	}

	// internal temperature sensor & GPIO check
	else if (htim->Instance == TIM4) { // 5s
		HAL_ADC_Start_IT(&hadc1);
		gpio_valid = true;
	}

	// accelerometer
	else if (htim->Instance == TIM12) { // 200ms
		acc_valid = true;
	}
}

// TEMPERATURE SENSOR interrupt callback
void HAL_ADC_ConvCpltCallback(ADC_HandleTypeDef* hadc) {
	core_temperature = (uint32_t)(((110.0 - 30) * (HAL_ADC_GetValue(&hadc1) - TS_CAL1) / (TS_CAL2 - TS_CAL1) + 30) * 10);
	adc_valid = true;
}

/* ========== LCD START ========== */
void LCD_Send_CMD(uint8_t cmd) {
	uint8_t data_u, data_l;
	uint8_t data_t[4];
	data_u = (cmd & 0xF0);
	data_l = ((cmd << 4) & 0xF0);
	data_t[0] = data_u | 0x0C;
	data_t[1] = data_u | 0x08;
	data_t[2] = data_l | 0x0C;
	data_t[3] = data_l | 0x08;
	HAL_I2C_Master_Transmit(&hi2c2, LCD_I2C_ADDRESS, (uint8_t *)data_t, 4, 50);
}

void LCD_Send_DATA(uint8_t data) {
	uint8_t data_u, data_l;
	uint8_t data_t[4];
	data_u = (data & 0xF0);
	data_l = ((data << 4) & 0xF0);
	data_t[0] = data_u | 0x0D;
	data_t[1] = data_u | 0x09;
	data_t[2] = data_l | 0x0D;
	data_t[3] = data_l | 0x09;
	HAL_I2C_Master_Transmit(&hi2c2, LCD_I2C_ADDRESS, (uint8_t *)data_t, 4, 50);
}

void LCD_Write(uint8_t *str, uint8_t col, uint8_t row) {
    switch (row) {
        case 0:
            col |= 0x80;
            break;
        case 1:
            col |= 0xC0;
            break;
    }
    LCD_Send_CMD(col);

	while (*str) LCD_Send_DATA(*str++);
}

void LCD_Setup() {
	// LCD initialization sequence
	HAL_Delay(10);
	LCD_Send_CMD(0x30);
	HAL_Delay(5);
	LCD_Send_CMD(0x30);
	HAL_Delay(1);
	LCD_Send_CMD(0x30);
	LCD_Send_CMD(0x20);

	HAL_Delay(1);
	LCD_Send_CMD(0x28); // FUNCTION SET: DL=0, N=1, F=0
	LCD_Send_CMD(0x08); // DISPLAY SWITCH: D=0, C=0, B=0
	LCD_Send_CMD(0x01); // SCREEN CLEAR
	HAL_Delay(2);
	LCD_Send_CMD(0x0C); // DISPLAY SWITCH: D=1, C=0, B=0

	// display initial screen
    LCD_Write("V:", 12, 0);
    LCD_Write("T:", 12, 1);

    // LCD update rate: 100ms
	HAL_TIM_Base_Start_IT(&htim3);
}

void LCD_Manager() {
	if (lcd_valid) {
		// update LCD integer value
		uint8_t core_temp_display[3];
		uint32_t core_temp_display_value = (core_temperature + 5) / 10; // +5 for rounding
		sprintf(core_temp_display, "%d", core_temp_display_value);
	    LCD_Write(core_temp_display, 14, 1);

	    // update LCD block indicator
		static int32_t display_prev_block_count = 0;
		int32_t display_block_count = core_temp_display_value - 35;
		int32_t display_block_variance = display_block_count - display_prev_block_count;
		uint8_t fill;

		if (display_block_variance > 0) {
			fill = 0xFF;
		}
		else {
			fill = ' ';
			display_block_variance = -display_block_variance;
		}

		uint8_t* display_blocks = malloc(display_block_variance + 1);
		memset(display_blocks, fill, display_block_variance);
		display_blocks[display_block_variance] = '\0';

	    LCD_Write(display_blocks, fill == 0xFF ? display_prev_block_count : display_block_count, 1);
	    display_prev_block_count = display_block_count;

	    free(display_blocks);

		lcd_valid = false;
	}
}
/* ========== LCD END ========== */

/* ========== Accelerometer START ========== */
void ACC_Send(uint8_t reg, uint8_t value) {
	uint8_t data[2] = { reg, value };
	HAL_I2C_Master_Transmit(&hi2c1, ACC_I2C_ADDRESS, data, 2, 10);
}

void ACC_Read(uint8_t reg) {
	HAL_I2C_Mem_Read(&hi2c1, ACC_I2C_ADDRESS, reg, 1, (uint8_t *)acc_rxd, 6, 10);
}

void ACC_Setup() {
	ACC_Send(0x31, 0x01);  // DATA_FORMAT range +-4g
	ACC_Send(0x2D, 0x00);  // POWER_CTL bit reset
	ACC_Send(0x2D, 0x08);  // POWER_CTL set measure mode. 100hz default rate

	// start 200ms timer
	HAL_TIM_Base_Start_IT(&htim12);
}

void ACC_Manager() {
	if (acc_valid) {
		ACC_Read(0x32);

		log_t log;
		log.component = "ECU";
		log.level = "INFO";
		log.key = "ACC";
		log.value = malloc(30);
		sprintf(log.value, "0x%02X 0x%02X 0x%02X 0x%02X 0x%02X 0x%02X", acc_rxd[0], acc_rxd[1], acc_rxd[2], acc_rxd[3], acc_rxd[4], acc_rxd[5]);
		LOGGER(&log);
		free(log.value);
		acc_valid = false;

	}
}
/* ========== Accelerometer END ========== */

/* USER CODE END 0 */

int main(void)
{

  /* MCU Configuration--------------------------------------------------------*/

  /* Reset of all peripherals, Initializes the Flash interface and the Systick. */
  HAL_Init();

  /* Configure the system clock */
  SystemClock_Config();

  /* Initialize all configured peripherals */
  MX_GPIO_Init();
  MX_DMA_Init();
  MX_TIM2_Init();
  MX_USART1_UART_Init();
  MX_I2C2_Init();
  MX_SDIO_SD_Init();
  MX_RTC_Init();
  MX_FATFS_Init();
  MX_USART6_UART_Init();
  MX_USART3_UART_Init();
  MX_ADC1_Init();
  MX_TIM4_Init();
  MX_I2C1_Init();
  MX_TIM3_Init();
  MX_TIM12_Init();
  MX_CAN1_Init();
  /* USER CODE BEGIN 2 */

  // set boot time and log file name
  boot = getDateTimeBits();
  sprintf(logfile, "A-FA 20%d-%02d-%02d %02d-%02d-%02d.log",
		(uint32_t)(boot >> 48), (uint32_t)(boot << 16 >> 56), (uint32_t)(boot << 24 >> 56),
		(uint32_t)(boot << 32 >> 56), (uint32_t)(boot << 40 >> 56), (uint32_t)(boot << 48 >> 56));

  // initialize 32KB log buffer
  ring_buffer_init(&logbuffer);

  // set onboard LED active
  HAL_GPIO_WritePin(GPIOA, LED1_Pin, GPIO_PIN_RESET);
  HAL_GPIO_WritePin(GPIOA, LED2_Pin, GPIO_PIN_SET);

  // log system startup
  log_t log;
  log.component = "ECU";
  log.level = "INFO";
  log.key = "STARTUP";
  log.value = "STARTUP";
  LOGGER(&log);

  // set LCD
  LCD_Setup();

  // set WiFi
  HAL_UART_Receive_IT(&huart3, &wifi_rxd, 1);
  HAL_UART_Transmit(&huart3, "ESP CHECK", 10, 10);

  // initialize GPIOs
  Sensor_Setup();

  // set CAN
  CAN_Setup();

  // set accelerometer
  ACC_Setup();

  // set GPS
  GPS_Setup();

  /* USER CODE END 2 */

  /* Infinite loop */
  /* USER CODE BEGIN WHILE */
  while (1) {
	RTD_Manager();
	Sensor_Manager();
	CAN_Manager();
	GPS_Manager();
	WiFi_Manager();
	LCD_Manager();
	ACC_Manager();
    /* USER CODE END WHILE */

  }
}

void SystemClock_Config(void)
{
  RCC_OscInitTypeDef RCC_OscInitStruct = {0};
  RCC_ClkInitTypeDef RCC_ClkInitStruct = {0};

  /** Configure the main internal regulator output voltage
  */
  __HAL_RCC_PWR_CLK_ENABLE();
  __HAL_PWR_VOLTAGESCALING_CONFIG(PWR_REGULATOR_VOLTAGE_SCALE1);

  /** Initializes the RCC Oscillators according to the specified parameters
  * in the RCC_OscInitTypeDef structure.
  */
  RCC_OscInitStruct.OscillatorType = RCC_OSCILLATORTYPE_HSE|RCC_OSCILLATORTYPE_LSE;
  RCC_OscInitStruct.HSEState = RCC_HSE_ON;
  RCC_OscInitStruct.LSEState = RCC_LSE_ON;
  RCC_OscInitStruct.PLL.PLLState = RCC_PLL_ON;
  RCC_OscInitStruct.PLL.PLLSource = RCC_PLLSOURCE_HSE;
  RCC_OscInitStruct.PLL.PLLM = 4;
  RCC_OscInitStruct.PLL.PLLN = 168;
  RCC_OscInitStruct.PLL.PLLP = RCC_PLLP_DIV2;
  RCC_OscInitStruct.PLL.PLLQ = 7;
  if (HAL_RCC_OscConfig(&RCC_OscInitStruct) != HAL_OK)
  {
    Error_Handler();
  }

  /** Initializes the CPU, AHB and APB buses clocks
  */
  RCC_ClkInitStruct.ClockType = RCC_CLOCKTYPE_HCLK|RCC_CLOCKTYPE_SYSCLK
                              |RCC_CLOCKTYPE_PCLK1|RCC_CLOCKTYPE_PCLK2;
  RCC_ClkInitStruct.SYSCLKSource = RCC_SYSCLKSOURCE_PLLCLK;
  RCC_ClkInitStruct.AHBCLKDivider = RCC_SYSCLK_DIV1;
  RCC_ClkInitStruct.APB1CLKDivider = RCC_HCLK_DIV4;
  RCC_ClkInitStruct.APB2CLKDivider = RCC_HCLK_DIV2;

  if (HAL_RCC_ClockConfig(&RCC_ClkInitStruct, FLASH_LATENCY_5) != HAL_OK)
  {
    Error_Handler();
  }

  /** Enables the Clock Security System
  */
  HAL_RCC_EnableCSS();
}

void Error_Handler(void)
{
  /* USER CODE BEGIN Error_Handler_Debug */
	/* User can add his own implementation to report the HAL error return state */
	//__disable_irq();
	HAL_GPIO_WritePin(GPIOA, LED1_Pin, GPIO_PIN_SET);
	HAL_GPIO_WritePin(GPIOA, LED2_Pin, GPIO_PIN_RESET);

	uint8_t* errstr = malloc(100);
	uint32_t errsize;
	log_string_generator(&errlog, errstr, &errsize);
	ring_buffer_queue_arr(&logbuffer, errstr, errsize + 1);
	free(errstr);

	printf("ERROR: %s\n", errlog.value);

	while (1) {
	  break;
	}
  /* USER CODE END Error_Handler_Debug */
}
